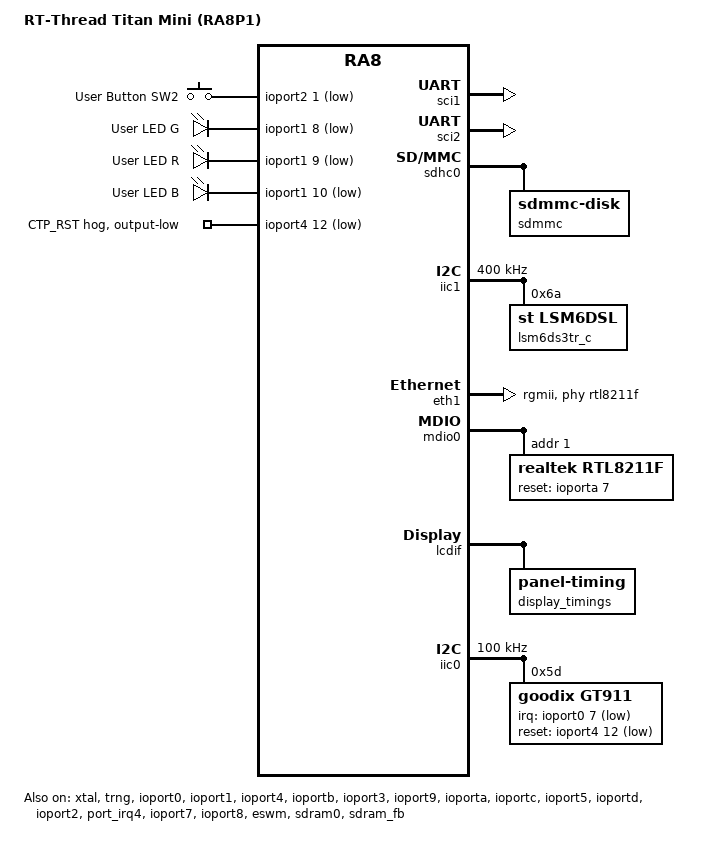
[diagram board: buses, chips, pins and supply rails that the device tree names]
/*
 * Copyright (c) 2026 Titan Mini contributors
 * SPDX-License-Identifier: Apache-2.0
 *
 * RT-Thread Titan Mini board (Renesas RA8P1, R7KA8P1KFLCAC, CM85 core)
 * Schematic: Titan_Mini HW V1.0
 *  - Debug UART on U18 (RPi 40-pin header, pins 8/10): SCI1,
 *      TXD1 = P707, RXD1 = P706
 *  - Secondary UART on header H1: SCI2, TXD2 = P801, RXD2 = P802
 *  - RGB user LED (XL-1615RGBC-RF, common anode, active low):
 *      R = P109, G = P108, B = P110
 *  - Main crystal 24 MHz (EXTAL/XTAL), sub crystal 32.768 kHz (XCIN/XCOUT)
 *  - SWD debug on J6 (SWDIO = P210, SWCLK = P211)
 *  - SD card on SDHI0 (PD01/02/03/04/05/07, DAT3 = P111)
 *  - IMU LSM6DS3TR-C on IIC1 (SDA1 = P511, SCL1 = P512), addr 0x6A,
 *    INT1 = P412 (IMU_INT1)
 *  - Gigabit Ethernet: RTL8211F-CG PHY on eth1 (RGMII1), MDIO = PC11/PC12,
 *    PHY addr 0x01, reset = PA07, interrupt = P107, 25 MHz xtal on PHY
 *  - RGB LCD (ATK-MD0700R-1024600, RGB565) on GLCDC/lcdif, BL = P303,
 *    LCD_RST = P011; 触摸 GT911 on IIC0 (SDA0=P409, SCL0=P410),
 *    CTP_RST = P412, CTP_IRQ_N = P007
 *  - SDRAM W9825G6KH-6 (32 MB, 16-bit) at 0x68000000
 *  - QSPI NOR flash W25Q64JVSSIQ (8 MB) on OSPI-B/XSPI0 channel 0, CS1
 */

/dts-v1/;

#include <renesas/ra/ra8/r7ka8p1kflcac_cm85.dtsi>
#include <zephyr/dt-bindings/gpio/gpio.h>
#include <zephyr/dt-bindings/i2c/i2c.h>
#include <zephyr/dt-bindings/display/panel.h>
#include <zephyr/dt-bindings/input/input-event-codes.h>
#include <zephyr/dt-bindings/flash_controller/xspi.h>
#include <zephyr/dt-bindings/memory-controller/renesas,ra-sdram.h>
#include <zephyr/dt-bindings/memory-attr/memory-attr-arm.h>
#include <zephyr/dt-bindings/flash_controller/xspi.h>
#include "titan_mini-pinctrl.dtsi"

/ {
	model = "RT-Thread Titan Mini (RA8P1)";
	compatible = "renesas,ra8p1", "renesas,ra8";

	soc {
		/*
		 * QSPI NOR W25Q64JVSSIQ (8 MB) on OSPI-B/XSPI0 channel 0, CS1.
		 * DISABLED: Zephyr 的 renesas,ra-ospi-b-nor 驱动只支持 Octal
		 * XSPI 模式 (按 Cypress S28HL 系列写死), W25Q64 为标准 Quad
		 * NOR, init 时报 "XSPI mode DUAL|QUAD currently not support"
		 * 后优雅失败. 需驱动扩展 Quad 支持后才能打开.
		 * 引脚: SCK=P808 SIO0=P100 SIO1=P803 SIO2=P103 SIO3=P101 CS1=P104.
		 */
		ospi0: ospi@40268000 {
			compatible = "renesas,ra-ospi-b";
			reg = <0x40268000 0x19c>;
			#address-cells = <1>;
			#size-cells = <1>;
			clocks = <&octaspiclk MSTPB 16>;
			pinctrl-0 = <&ospi0_default>;
			pinctrl-names = "default";
			status = "disabled";

			/* W25Q64JVSSIQ on CS1, memory mapped at 0x90000000 */
			w25q64: flash@90000000 {
				compatible = "renesas,ra-ospi-b-nor";
				reg = <0x90000000 DT_SIZE_M(8)>;
				protocol-mode = <XSPI_QUAD_MODE>;
				data-rate = <XSPI_STR_TRANSFER>;
				ospi-max-frequency = <DT_FREQ_M(50)>;
				write-block-size = <1>;
				status = "disabled";

				pages_layout: pages_layout {
					pages_layout_4k: pages_layout_4k {
						pages-count = <2048>;
						pages-size = <DT_SIZE_K(4)>;
					};
				};
			};
		};
	};

	chosen {
		zephyr,sram = &sram0;
		zephyr,flash = &code_mram_cm85;
		zephyr,flash-controller = &mram_ctrl;
		zephyr,console = &uart1;
		zephyr,shell-uart = &uart1;
		zephyr,entropy = &trng;
		zephyr,display = &lcdif;
	};

	aliases {
		led0 = &led_g;
		led1 = &led_r;
		led2 = &led_b;
		sw0 = &button_sw2;
	};

	sdram0: sdram@68000000 {
		compatible = "zephyr,memory-region", "mmio-sram";
		device_type = "memory";
		reg = <0x68000000 DT_SIZE_M(24)>;
		zephyr,memory-region = "SDRAM";
		status = "okay";
	};

	/* GLCDC 帧缓冲专用 (SDRAM 后 8MB): NOCACHE 保证 DMA 可见,
	 * 官方固件同款 .sdram_noinit_nocache 方案 */
	sdram_fb: sdram-fb@68800000 {
		compatible = "zephyr,memory-region", "mmio-sram";
		device_type = "memory";
		reg = <0x68800000 DT_SIZE_M(8)>;
		zephyr,memory-region = "SDRAM_FB";
		zephyr,memory-attr = <(DT_MEM_ARM(ATTR_MPU_RAM_NOCACHE))>;
		status = "okay";
	};

	buttons {
		compatible = "gpio-keys";

		/* USER/BOOT button SW2 on P201/MD (IRQ4), press = low */
		button_sw2: sw2 {
			gpios = <&ioport2 1 (GPIO_PULL_UP | GPIO_ACTIVE_LOW)>;
			label = "User Button SW2";
			zephyr,code = <INPUT_KEY_0>;
		};
	};

	leds {
		compatible = "gpio-leds";

		led_g: led_g {
			gpios = <&ioport1 8 GPIO_ACTIVE_LOW>;
			label = "User LED G";
		};

		led_r: led_r {
			gpios = <&ioport1 9 GPIO_ACTIVE_LOW>;
			label = "User LED R";
		};

		led_b: led_b {
			gpios = <&ioport1 10 GPIO_ACTIVE_LOW>;
			label = "User LED B";
		};
	};
};

/* 24 MHz main crystal on EXTAL/XTAL */
&xtal {
	clock-frequency = <DT_FREQ_M(24)>;
	mosel = <0>;
	#clock-cells = <0>;
	status = "okay";
};

&pll {
	status = "okay";

	pllp: pllp {
		status = "okay";
	};

	pllq: pllq {
		status = "okay";
	};

	pllr: pllr {
		status = "okay";
	};
};

&pll2 {
	clocks = <&xtal>;
	div = <3>;
	mul = <300 0>;
	status = "okay";

	pll2p {
		div = <4>;
		freq = <DT_FREQ_M(600)>;
		status = "okay";
	};

	pll2q {
		div = <3>;
		freq = <DT_FREQ_M(800)>;
		status = "okay";
	};

	pll2r {
		div = <5>;
		freq = <DT_FREQ_M(480)>;
		status = "okay";
	};
};

&sciclk {
	clocks = <&pll2r>;
	div = <4>;
	status = "okay";
};

/* 600 MHz / 10 = 60 MHz OSPI input clock */
&octaspiclk {
	clocks = <&pll2p>;
	div = <10>;
	status = "okay";
};

&uclk {
	clocks = <&pll2r>;
	div = <10>;
	status = "okay";
};

/* Ethernet switch clocks (同 ek_ra8p1: 250M/500M/25M) */
&eswclk {
	clocks = <&pllp>;
	div = <4>;
	status = "okay";
};

&eswphyclk {
	clocks = <&pllp>;
	div = <2>;
	status = "okay";
};

&ethphyclk {
	clocks = <&pllr>;
	div = <16>;
	status = "okay";
};

&trng {
	status = "okay";
};

/* GLCDC 时钟: pll2r/4 = 120 MHz (官方 BSP 同款时钟源), /2 = 60 MHz 像素时钟 */
&lcdclk {
	clocks = <&pll2r>;
	div = <4>;
	status = "okay";
};

&ioport0 {
	status = "okay";
};

&ioport1 {
	status = "okay";
};

&ioport4 {
	status = "okay";

	/* 上电即按住 GT911 复位: 防止其僵尸态锁死 I2C 总线导致启动卡死白屏
	 * (gt911 驱动初始化时再接管此脚做正规复位脉冲) */
	touch-rst-hog {
		gpio-hog;
		gpios = <12 GPIO_ACTIVE_LOW>;
		output-low;
		line-name = "CTP_RST";
	};
};

&ioportb {
	status = "okay";
};

&ioport3 {
	status = "okay";
};

&ioport9 {
	status = "okay";
};

&ioporta {
	status = "okay";
};

&ioportc {
	status = "okay";
};

&ioport5 {
	status = "okay";
};

&ioportd {
	status = "okay";
};

&ioport2 {
	status = "okay";
	port-irqs = <&port_irq4>;
	port-irq-names = "port-irq4";
	port-irq4-pins = <1>; /* P201 */
};

/* SW2 on P201, NVIC slot 8 (0-3: sci2, 4-7: sci1) */
&port_irq4 {
	interrupts = <8 12>;
	status = "okay";
};

&ioport7 {
	status = "okay";
};

&ioport8 {
	status = "okay";
};

/* Debug UART on U18 (RPi 40-pin header, pin 8=TXD1/P707, pin 10=RXD1/P706) */
&sci1 {
	pinctrl-0 = <&sci1_default>;
	pinctrl-names = "default";
	interrupts = <4 1>, <5 1>, <6 1>, <7 1>;
	interrupt-names = "rxi", "txi", "tei", "eri";
	status = "okay";

	uart1: uart {
		current-speed = <115200>;
		status = "okay";
	};
};

/* Secondary UART on H1 (1=GND, 2=RXD2, 3=TXD2) */
&sci2 {
	pinctrl-0 = <&sci2_default>;
	pinctrl-names = "default";
	interrupts = <0 1>, <1 1>, <2 1>, <3 1>;
	interrupt-names = "rxi", "txi", "tei", "eri";
	status = "okay";

	uart2: uart {
		current-speed = <115200>;
		status = "okay";
	};
};

/* SD card slot (SDHI0, 4-bit, card-detect on PD07) */
&sdhc0 {
	pinctrl-0 = <&sdhc0_default>;
	pinctrl-names = "default";
	interrupts = <9 12>, <10 12>, <11 12>;
	interrupt-names = "accs", "card", "dma-req";
	status = "okay";

	sdmmc {
		compatible = "zephyr,sdmmc-disk";
		disk-name = "SD";
		status = "okay";
	};
};

/* IMU 总线 IIC1 (NVIC 12-15: 0-3 sci2, 4-7 sci1, 8 irq4, 9-11 sdhc0) */
&iic1 {
	#address-cells = <1>;
	#size-cells = <0>;
	clock-frequency = <I2C_BITRATE_FAST>;
	pinctrl-0 = <&iic1_default>;
	pinctrl-names = "default";
	interrupts = <12 1>, <13 1>, <14 1>, <15 1>;
	interrupt-names = "rxi", "txi", "tei", "eri";
	status = "okay";

	/* LSM6DS3TR-C: WHO_AM_I 0x6A 与 LSM6DSL 相同, 寄存器兼容 */
	lsm6ds3tr_c: imu@6a {
		compatible = "st,lsm6dsl";
		reg = <0x6a>;
		status = "okay";
	};
};

/* SDRAM W9825G6KH-6: 32MB 16-bit, CL=3, 时序同 ek_ra8p1 (兼容 -6 级颗粒) */
&sdram {
	pinctrl-0 = <&sdram_default>;
	pinctrl-names = "default";
	status = "okay";
	auto-refresh-interval = <SDRAM_AUTO_REFRESH_INTERVAL_10CYCLES>;
	auto-refresh-count = <SDRAM_AUTO_REFRESH_COUNT_8TIMES>;
	precharge-cycle-count = <SDRAM_AUTO_PRECHARGE_CYCLE_3CYCLES>;
	multiplex-addr-shift = "9-bit";
	endian-mode = "little-endian";
	continuous-access;
	bus-width = "16-bit";

	bank@0 {
		reg = <0>;
		renesas,ra-sdram-timing = <SDRAM_TRAS_6CYCLES
					   SDRAM_TRCD_3CYCLES
					   SDRAM_TRP_3CYCLES
					   SDRAM_TWR_2CYCLES
					   SDRAM_TCL_3CYCLES
					   937
					   SDRAM_TREFW_8CYCLES>;
	};
};

/* Gigabit Ethernet: RTL8211F-CG on eth1/RGMII1 (NVIC 24 gwdi) */
&eswm {
	interrupts = <24 1>;
	interrupt-names = "gwdi";
	status = "okay";
};

&eth1 {
	phy-connection-type = "rgmii";
	/* RTL8211F strap 自带 RXC 2ns 延迟, 再叠 MAC TXCIDE 会错出千兆采样窗 */
	renesas,no-txc-delay;
	local-mac-address = [02 00 00 50 01 01];
	phy-clock-type = "xtal";
	phy-handle = <&rtl8211f>;
	pinctrl-0 = <&eth1_default>;
	pinctrl-names = "default";
	status = "okay";
};

/*
 * PHY 管理总线在 mdio0 (ET0_MDC/ET0_MDIO = PC11/PC12), 数据通路在 eth1
 * (RGMII1) — 板子原理图如此, mdio 驱动 init 会自行把 ETHA0 切到工作模式.
 */
&mdio0 {
	pinctrl-0 = <&mdio0_default>;
	pinctrl-names = "default";
	status = "okay";

	rtl8211f: phy@1 {
		compatible = "realtek,rtl8211f";
		reg = <1>;
		/* 驱动按裸极性写 set(0)/set(1), 须声明 ACTIVE_HIGH (同 NXP rtl8211f 板):
		 * set(0)=物理低=复位, set(1)=物理高=释放 */
		reset-gpios = <&ioporta 7 GPIO_ACTIVE_HIGH>; /* ET1_RESET PA07 */
		/* 千兆 RGMII DDR 时序待调, 先限 100M (时序调好后删除) */
		/* 无 int-gpios: PHY 驱动用周期轮询监测链路 (省 IRQ31) */
		status = "okay";
	};
};

/*
 * ATK-MD0700R-1024600 (EK79001): DE 模式时序, DCLK 50 MHz,
 * 帧缓冲放 SDRAM (双缓冲 2x1.2MB)
 */
&lcdif {
	pinctrl-0 = <&lcdif_default>;
	pinctrl-names = "default";
	interrupts = <20 0>;
	interrupt-names = "line";
	status = "okay";
	width = <1024>;
	height = <600>;
	input-pixel-format = <PANEL_PIXEL_FORMAT_RGB_565>;
	output-pixel-format = <PANEL_PIXEL_FORMAT_RGB_565>;
	output-clock-divisor = <2>;
	output-signal-sync-edge = "RISING";
	output-pin-hsync = "TCON_PIN_0";
	output-pin-vsync = "TCON_PIN_1";
	output-pin-de = "TCON_PIN_3";
	backlight-gpios = <&ioport3 3 GPIO_ACTIVE_HIGH>; /* LCD_BL P303 */
	ext-ram = <&sdram_fb>;

	display_timings: display_timings {
		compatible = "zephyr,panel-timing";
		hsync-len = <20>;
		hback-porch = <140>;
		hfront-porch = <160>;
		vsync-len = <3>;
		vback-porch = <20>;
		vfront-porch = <12>;
		hsync-active = <0>; /* ATK 模块 HSYNC/VSYNC 低有效 */
		vsync-active = <0>;
		de-active = <1>;
		pixelclk-active = <0>;
	};
};

/* 触摸 GT911 (NVIC 16-19: 0-3 sci2, 4-7 sci1, 8 irq4, 9-11 sdhc0, 12-15 iic1, 20 lcdif) */
&iic0 {
	#address-cells = <1>;
	#size-cells = <0>;
	clock-frequency = <I2C_BITRATE_STANDARD>; /* 100k: FPC/转接线信号裕量 */
	pinctrl-0 = <&iic0_default>;
	pinctrl-names = "default";
	interrupts = <16 1>, <17 1>, <18 1>, <19 1>;
	interrupt-names = "rxi", "txi", "tei", "eri";
	status = "okay";

	gt911: gt911@5d {
		compatible = "goodix,gt911";
		reg = <0x5d>;
		alt-addr = <0x14>;
		irq-gpios = <&ioport0 7 GPIO_ACTIVE_LOW>;   /* CTP_IRQ_N P007 */
		reset-gpios = <&ioport4 12 GPIO_ACTIVE_LOW>; /* CTP_RST  P412 */
		status = "okay";
	};
};
